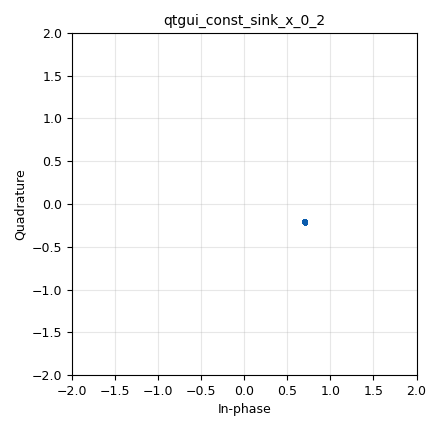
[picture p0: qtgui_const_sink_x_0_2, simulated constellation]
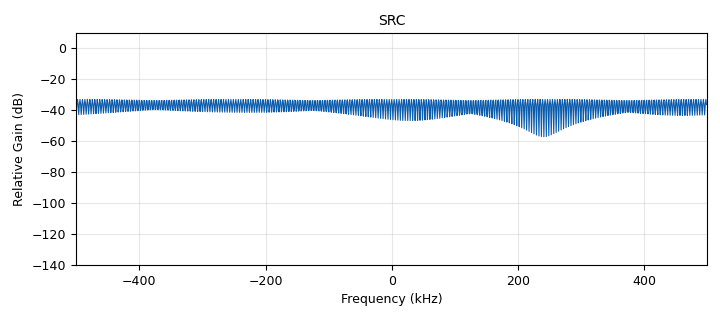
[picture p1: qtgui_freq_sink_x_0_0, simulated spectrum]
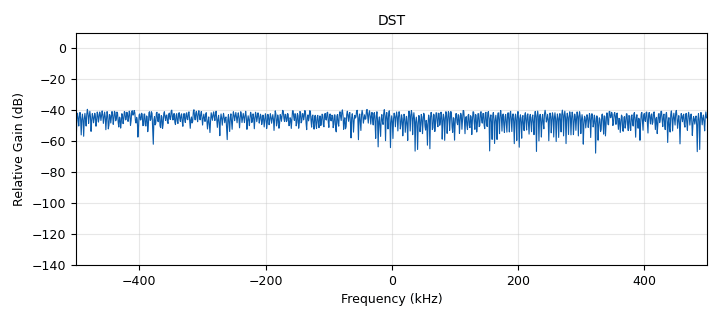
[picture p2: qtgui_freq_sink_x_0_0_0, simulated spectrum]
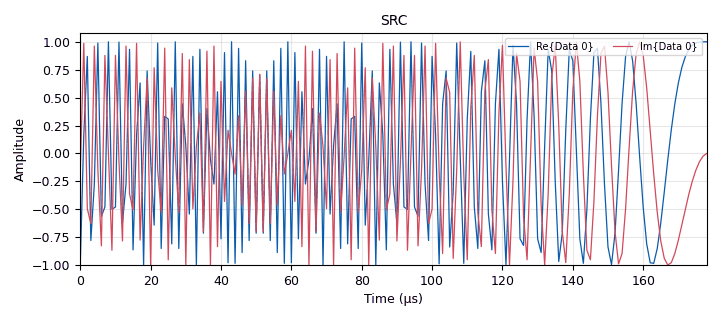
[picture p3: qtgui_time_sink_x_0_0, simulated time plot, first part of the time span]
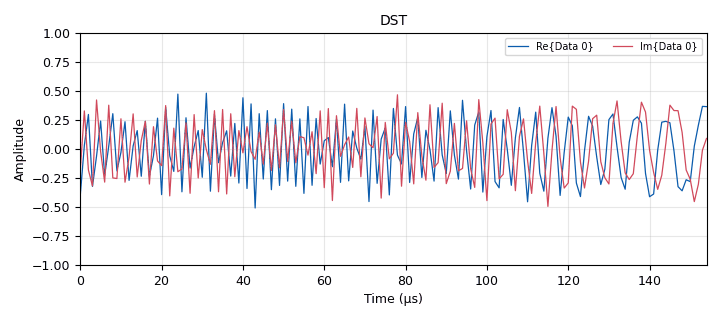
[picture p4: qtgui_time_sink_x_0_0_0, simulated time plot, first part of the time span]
options:
  parameters:
    author: trask-smith
    generate_options: qt_gui
    id: ZadoffChuCS
    output_language: python
    title: Not titled yet
  states: {}

blocks:
- name: channel0_bandwidth
  id: variable
  parameters:
    value: samp_rate
  states: {}
- name: channel_state
  id: variable
  parameters:
    value: np.fromfile(open("/tmp/zc_cs_state.bin", "rb"), dtype=np.complex64)[-1] if (os.path.exists("/tmp/zc_cs_state.bin") and os.path.getsize("/tmp/zc_cs_state.bin") >= 8) else 1.0+0j
  states: {}
- name: lo_offset
  id: variable
  parameters:
    value: 1e6
  states: {}
- name: samp_rate
  id: variable
  parameters:
    value: 1e6
  states: {}
- name: target_freq
  id: variable
  parameters:
    value: 2.45e9
  states: {}
- name: threshold
  id: variable_qtgui_range
  parameters:
    start: '0.0001'
    step: '0.05'
    stop: '1'
    value: '0.5'
    widget: slider
  states: {}
- name: blocks_complex_to_float_0_2
  id: blocks_complex_to_float
  parameters: {}
  states: {}
- name: blocks_multiply_const_vxx_0_0_0
  id: blocks_multiply_const_vxx
  parameters:
    const: '2'
    type: complex
  states: {}
- name: blocks_multiply_const_vxx_0_2
  id: blocks_multiply_const_vxx
  parameters:
    const: 1/2
    type: complex
  states: {}
- name: blocks_throttle2_1
  id: blocks_throttle2
  parameters:
    samples_per_second: samp_rate
    type: complex
  states: {}
- name: blocks_throttle2_1_0
  id: blocks_throttle2
  parameters:
    samples_per_second: samp_rate
    type: complex
  states: {}
- name: channels_channel_model_0_0_0_0
  id: channels_channel_model
  parameters:
    block_tags: 'True'
    epsilon: '1.0'
    freq_offset: '0'
    noise_voltage: '0.1'
    seed: '0'
    taps: 0.7-0.2j
  states: {}
- name: epy_block_0_1
  id: epy_block
  parameters:
    _source_code: |
      import numpy as np
      from gnuradio import gr

      class blk(gr.sync_block):
          """
          Zadoff-Chu Sequence Generator
          Generates a continuous, repeating Zadoff-Chu sequence.
          """

          def __init__(self, root=1, length=139):
              # Initialize the sync block with no inputs and one complex output
              gr.sync_block.__init__(
                  self,
                  name='Zadoff-Chu Source',
                  in_sig=[],
                  out_sig=[np.complex64]
              )
              
              # Store parameters
              self.root = root
              self.length = length
              
              # Internal state
              self.idx = 0
              self.seq = self._generate_zc()

          def _generate_zc(self):
              """Calculates the ZC sequence based on current root and length."""
              n = np.arange(self.length)
              if self.length % 2 == 0:
                  # Even length formula
                  seq = np.exp(-1j * np.pi * self.root * (n ** 2) / self.length)
              else:
                  # Odd length formula
                  seq = np.exp(-1j * np.pi * self.root * n * (n + 1) / self.length)
              return seq.astype(np.complex64)

          def set_root(self, root):
              """Callback for the root variable."""
              self.root = root
              self.seq = self._generate_zc()
              self.idx = 0 # Reset index to avoid out-of-bounds on length change

          def set_length(self, length):
              """Callback for the length variable."""
              if length < 1:
                  length = 1
              self.length = int(length)
              self.seq = self._generate_zc()
              self.idx = 0 # Reset index to avoid out-of-bounds

          def work(self, input_items, output_items):
              out = output_items[0]
              n_output = len(out)
              
              # Fast array assignment to handle the repeating sequence
              remaining = n_output
              out_idx = 0
              
              while remaining > 0:
                  # Calculate how much of the sequence we can write in this loop
                  chunk_size = min(remaining, self.length - self.idx)
                  
                  # Write the chunk to the output buffer
                  out[out_idx:out_idx + chunk_size] = self.seq[self.idx:self.idx + chunk_size]
                  
                  # Update pointers and counters
                  self.idx = (self.idx + chunk_size) % self.length
                  out_idx += chunk_size
                  remaining -= chunk_size
                  
              return n_output
    length: '255'
    root: '1'
  states: {}
- name: epy_block_1
  id: epy_block
  parameters:
    _source_code: |
      import numpy as np
      from gnuradio import gr

      class blk(gr.sync_block):
          """
          Zadoff-Chu Correlator with Latch
          Holds the last successful channel estimate (h) until a new peak is found.
          Initializes at 1+0j.
          """

          def __init__(self, root=1, length=139, threshold_ratio=0.75):
              gr.sync_block.__init__(
                  self,
                  name='ZC Correlator (Latched)',
                  in_sig=[np.complex64],
                  out_sig=[np.complex64]
              )
              
              self.root = root
              self.length = length
              self.threshold_ratio = threshold_ratio
              
              # This is our 'memory' variable
              self.last_h = 1.0 + 0.0j
              
              self.seq = self._generate_zc()
              self.set_history(self.length)

          def _generate_zc(self):
              n = np.arange(self.length)
              if self.length % 2 == 0:
                  seq = np.exp(-1j * np.pi * self.root * (n ** 2) / self.length)
              else:
                  seq = np.exp(-1j * np.pi * self.root * n * (n + 1) / self.length)
              return seq.astype(np.complex64)

          def set_root(self, root):
              self.root = root
              self.seq = self._generate_zc()

          def set_length(self, length):
              self.length = int(max(1, length))
              self.seq = self._generate_zc()
              self.set_history(self.length)

          def work(self, input_items, output_items):
              in_sig = input_items[0]
              out_sig = output_items[0]
              
              # Calculate sliding correlation
              corr = np.correlate(in_sig, self.seq, mode='valid')
              chan_est_list = corr / self.length
              mags = np.abs(chan_est_list)

              # We must process samples one by one to update the state correctly
              # if a peak occurs mid-buffer.
              for i in range(len(out_sig)):
                  # If we find a new peak, update our memory
                  if mags[i] >= self.threshold_ratio:
                      self.last_h = chan_est_list[i]
                  
                  # Every output sample gets the 'last known good' estimate
                  out_sig[i] = self.last_h
                  
              return len(out_sig)
    length: '255'
    root: '1'
    threshold_ratio: threshold
  states: {}
- name: import_0
  id: import
  parameters:
    imports: import numpy as np
  states: {}
- name: import_1_0
  id: import
  parameters:
    imports: from math import pi as pi
  states: {}
- name: import_2
  id: import
  parameters:
    imports: import os
  states: {}
- name: qtgui_const_sink_x_0_2
  id: qtgui_const_sink_x
  parameters:
    size: '1024'
    type: complex
  states: {}
- name: qtgui_freq_sink_x_0_0
  id: qtgui_freq_sink_x
  parameters:
    bw: samp_rate
    fc: '0'
    fftsize: '1024'
    name: '"SRC"'
    type: complex
  states: {}
- name: qtgui_freq_sink_x_0_0_0
  id: qtgui_freq_sink_x
  parameters:
    bw: samp_rate
    fc: '0'
    fftsize: '1024'
    name: '"DST"'
    type: complex
  states: {}
- name: qtgui_number_sink_0_2
  id: qtgui_number_sink
  parameters:
    graph_type: qtgui.NUM_GRAPH_HORIZ
    name: '"I"'
    type: float
  states: {}
- name: qtgui_number_sink_1_2
  id: qtgui_number_sink
  parameters:
    graph_type: qtgui.NUM_GRAPH_HORIZ
    name: '"Q"'
    type: float
  states: {}
- name: qtgui_time_sink_x_0_0
  id: qtgui_time_sink_x
  parameters:
    name: '"SRC"'
    size: '1024'
    srate: samp_rate
    type: complex
  states: {}
- name: qtgui_time_sink_x_0_0_0
  id: qtgui_time_sink_x
  parameters:
    name: '"DST"'
    size: '1024'
    srate: samp_rate
    type: complex
  states: {}
- name: uhd_usrp_sink_0_0
  id: uhd_usrp_sink
  parameters:
    ant0: '"TX/RX"'
    bw0: channel0_bandwidth
    center_freq0: target_freq
    clock_source0: external
    dev_addr: '"addr=192.168.10.4"'
    gain0: '25'
    samp_rate: samp_rate
    sd_spec0: B:0
    sync: sync
    time_source0: external
    type: fc32
  states: {state: disabled}
- name: uhd_usrp_source_0
  id: uhd_usrp_source
  parameters:
    ant0: '"TX/RX"'
    bw0: channel0_bandwidth
    center_freq0: target_freq
    clock_source0: external
    dev_addr: '"addr=192.168.10.3"'
    gain0: '25'
    samp_rate: samp_rate
    sd_spec0: B:0
    sync: sync
    time_source0: external
    type: fc32
  states: {state: disabled}

connections:
- [blocks_complex_to_float_0_2, '0', qtgui_number_sink_0_2, '0']
- [blocks_complex_to_float_0_2, '1', qtgui_number_sink_1_2, '0']
- [blocks_multiply_const_vxx_0_0_0, '0', epy_block_1, '0']
- [blocks_multiply_const_vxx_0_2, '0', blocks_throttle2_1_0, '0']
- [blocks_multiply_const_vxx_0_2, '0', uhd_usrp_sink_0_0, '0']
- [blocks_throttle2_1, '0', qtgui_freq_sink_x_0_0, '0']
- [blocks_throttle2_1, '0', qtgui_time_sink_x_0_0, '0']
- [blocks_throttle2_1_0, '0', channels_channel_model_0_0_0_0, '0']
- [channels_channel_model_0_0_0_0, '0', blocks_multiply_const_vxx_0_0_0, '0']
- [channels_channel_model_0_0_0_0, '0', qtgui_freq_sink_x_0_0_0, '0']
- [channels_channel_model_0_0_0_0, '0', qtgui_time_sink_x_0_0_0, '0']
- [epy_block_0_1, '0', blocks_multiply_const_vxx_0_2, '0']
- [epy_block_0_1, '0', blocks_throttle2_1, '0']
- [epy_block_1, '0', blocks_complex_to_float_0_2, '0']
- [epy_block_1, '0', qtgui_const_sink_x_0_2, '0']
- [uhd_usrp_source_0, '0', blocks_multiply_const_vxx_0_0_0, '0']
- [uhd_usrp_source_0, '0', qtgui_freq_sink_x_0_0_0, '0']
- [uhd_usrp_source_0, '0', qtgui_time_sink_x_0_0_0, '0']

metadata:
  file_format: 1
  grc_version: 3.10.12.0
